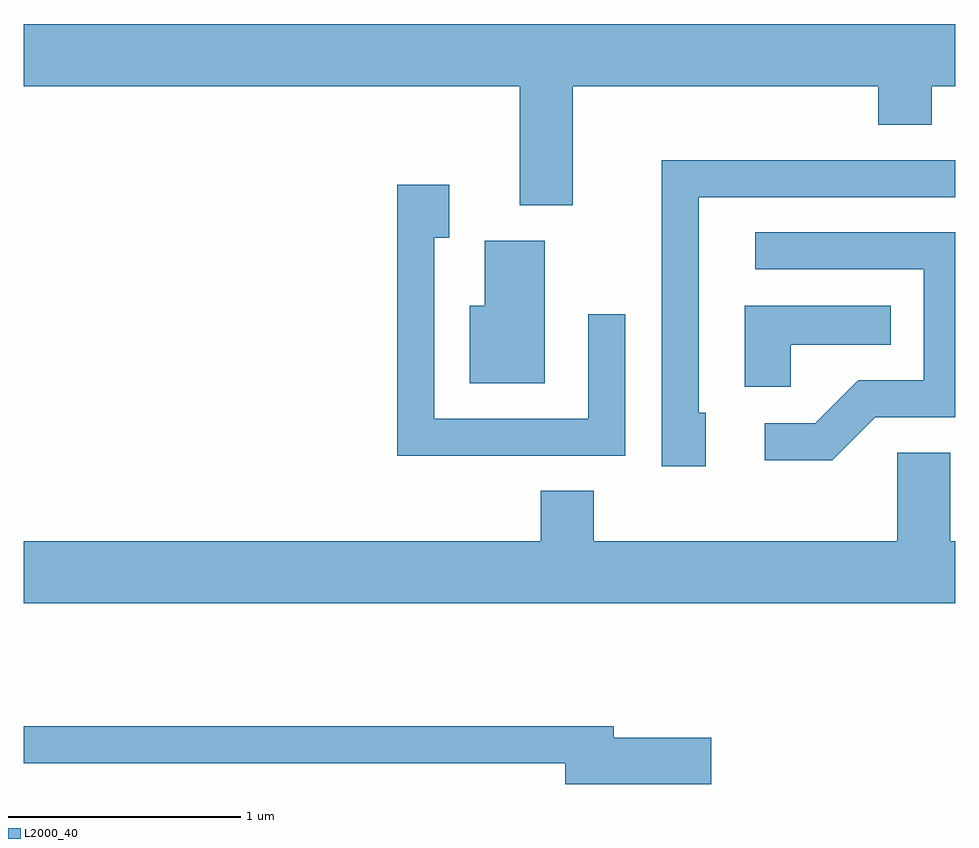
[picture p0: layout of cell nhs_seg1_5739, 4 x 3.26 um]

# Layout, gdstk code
import gdstk
lib = gdstk.Library(unit=1e-6, precision=1e-09)
def P(c, l, *ps):  # polygons
    for p in ps: c.add(gdstk.Polygon(p, *l))
L2000_40 = (2000, 40)

nhs_seg1_5739 = lib.new_cell('nhs_seg1_5739')
P(nhs_seg1_5739, L2000_40, [(359.969,937.316),(361.281,937.316),(361.281,937.151),(361.509,937.151),(361.509,937.316),(361.611,937.316),(361.611,937.584),(357.611,937.584),(357.611,937.316),(359.741,937.316),(359.741,936.806),(359.969,936.806)],
  [(360.539,935.914),(360.509,935.914),(360.509,936.841),(361.611,936.841),(361.611,936.999),(360.351,936.999),(360.351,935.686),(360.539,935.686)],
  [(360.194,936.338),(360.036,936.338),(360.036,935.889),(359.374,935.889),(359.374,936.666),(359.439,936.666),(359.439,936.894),(359.216,936.894),(359.216,935.731),(360.194,935.731)],
  [(361.267,935.896),(361.611,935.896),(361.611,936.689),(360.753,936.689),(360.753,936.531),(361.476,936.531),(361.476,936.054),(361.194,936.054),(361.009,935.869),(360.793,935.869),(360.793,935.711),(361.082,935.711)],
  [(359.849,936.654),(359.591,936.654),(359.591,936.374),(359.526,936.374),(359.526,936.041),(359.849,936.041)],
  [(360.904,936.206),(361.333,936.206),(361.333,936.374),(360.706,936.374),(360.706,936.026),(360.904,936.026)],
  [(361.611,935.364),(361.589,935.364),(361.589,935.744),(361.361,935.744),(361.361,935.364),(360.059,935.364),(360.059,935.579),(359.831,935.579),(359.831,935.364),(357.611,935.364),(357.611,935.096),(361.611,935.096)],
  [(360.564,934.519),(360.144,934.519),(360.144,934.569),(357.611,934.569),(357.611,934.411),(359.936,934.411),(359.936,934.321),(360.564,934.321)])

lib.write_gds('nhs_seg1_5739.gds')
